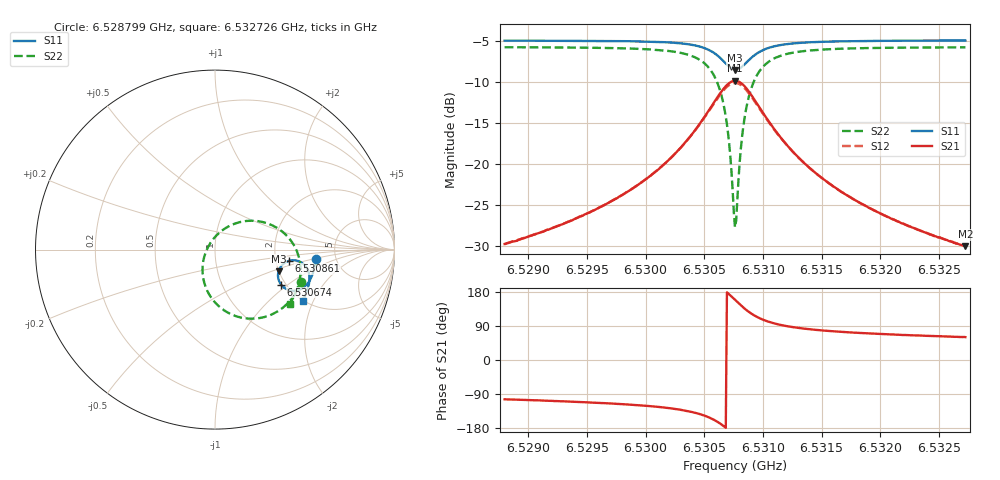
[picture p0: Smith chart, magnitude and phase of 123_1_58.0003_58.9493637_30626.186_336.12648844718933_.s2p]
#  HZ  S  RI  R  50.00
! Rohde & Schwarz Vector Network Analyzer
! Rohde-Schwarz,ZNB20-2Port,1311601062101988,3.16
! Created: UTC 3/21/2024, 12:55:47 AM
! freq[Hz]  re:S11  im:S11  re:S21  im:S21  re:S12  im:S12  re:S22  im:S22
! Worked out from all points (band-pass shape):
!   401 points, 6.528799 GHz to 6.532726 GHz, reference 50 ohm
!   highest |S21| = -9.86 dB at 6.530763 GHz (marker M1); lowest = -30.0 dB at 6.532726 GHz (marker M2)
!   |S21| within 3 dB of the highest: 6.530567 GHz to 6.53096 GHz (393.2 kHz wide, 0.00602 % of centre)
!   lowest |S11| = -8.5 dB at 6.530763 GHz (marker M3), VSWR 2.20, Z = 99.5 - j28.1 ohm
!   |S11| at or under -10 dB: nowhere
!   |S22| runs from -27.7 to -5.8 dB; largest |S21 - S12| = 0.013
!   S11 on the Smith chart (normalised r, x): 6.528799 GHz: 3.48, -0.55; 6.530674 GHz: 1.89, -0.89; 6.530861 GHz: 2.35, -0.36; 6.532726 GHz: 1.98, -1.66
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6.528799e9  0.5605 -0.0538  -0.00777 -0.0317  -0.00841 -0.0315  0.4801 -0.1826
6.5294569e9  0.5513 -0.1097  -0.0175 -0.0451  -0.0185 -0.0448  0.4481 -0.2452
6.5298005e9  0.5413 -0.1425  -0.029 -0.0579  -0.0305 -0.0573  0.4171 -0.2863
6.5301147e9  0.5239 -0.1777  -0.0523 -0.0774  -0.0546 -0.0762  0.3634 -0.3345
6.5303405e9  0.4967 -0.2082  -0.0937 -0.0983  -0.0969 -0.0949  0.2794 -0.3744
6.5305074e9  0.4518 -0.2283  -0.165 -0.1058  -0.1675 -0.0985  0.1481 -0.3794
6.5306056e9  0.4049 -0.2232  -0.2379 -0.0785  -0.237 -0.0682  0.0264 -0.3198
6.5306744e9  0.368 -0.1948  -0.2919 -0.0179  -0.2856 -0.00706  -0.0525 -0.2069
6.5307038e9  0.3564 -0.1738  -0.3063 0.0224  -0.2975 0.0319  -0.0686 -0.1374
6.5307529e9  0.3521 -0.1305  -0.3045 0.1006  -0.2928 0.1055  -0.0499 -0.00972
6.5307627e9  0.3539 -0.1216  -0.2995 0.1162  -0.2875 0.12  -0.0385 0.0147
6.5307725e9  0.3569 -0.1131  -0.2929 0.131  -0.2809 0.1339  -0.0248 0.0379
6.5307824e9  0.3606 -0.105  -0.2849 0.1454  -0.2731 0.1471  -0.00915 0.0594
6.5308216e9  0.3826 -0.078  -0.242 0.1911  -0.2321 0.1894  0.0697 0.1261
6.5308609e9  0.4106 -0.063  -0.1912 0.2157  -0.1838 0.2123  0.158 0.1571
6.5309296e9  0.4558 -0.0614  -0.1122 0.2187  -0.1085 0.2153  0.2905 0.1469
6.5310278e9  0.4959 -0.0832  -0.0441 0.1869  -0.0423 0.1849  0.4004 0.0767
6.5311751e9  0.5197 -0.1197  -0.00265 0.1385  -0.00141 0.1378  0.461 -0.0219
6.5314206e9  0.5264 -0.1636  0.0151 0.0906  0.0163 0.0904  0.4769 -0.1224
6.5316857e9  0.5225 -0.1967  0.0184 0.0642  0.0194 0.0639  0.4686 -0.1842
6.5320784e9  0.5111 -0.2345  0.0179 0.0437  0.0187 0.0434  0.4494 -0.2408
6.5327264e9  0.4878 -0.285  0.0157 0.0275  0.0163 0.0273  0.4159 -0.3009
